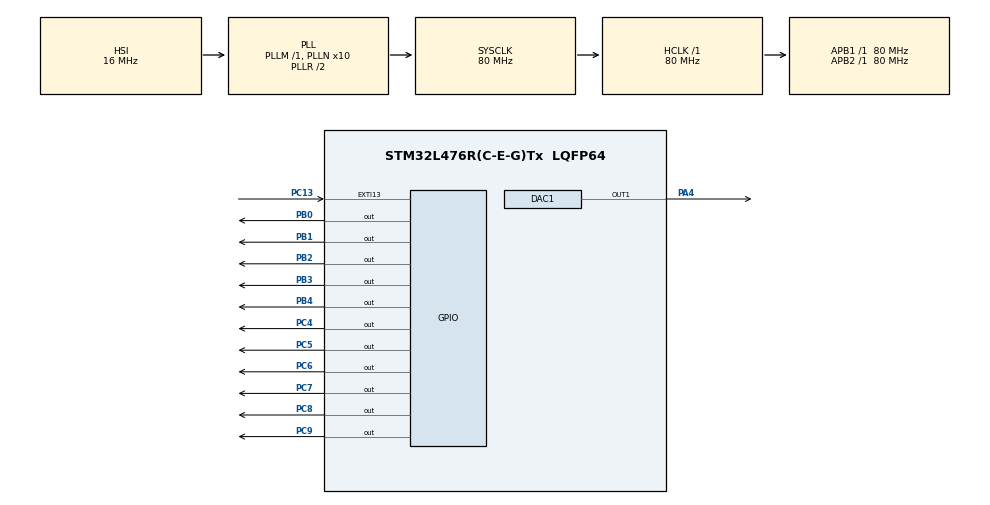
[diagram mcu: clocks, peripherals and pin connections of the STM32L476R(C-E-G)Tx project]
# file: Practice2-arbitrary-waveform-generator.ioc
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DAC1.DAC_Trigger-DAC_OUT1=DAC_TRIGGER_T2_TRGO
Dma.DAC_CH1.0.Direction=DMA_MEMORY_TO_PERIPH
Dma.DAC_CH1.0.Instance=DMA1_Channel3
Dma.DAC_CH1.0.MemDataAlignment=DMA_MDATAALIGN_HALFWORD
Dma.DAC_CH1.0.MemInc=DMA_MINC_ENABLE
Dma.DAC_CH1.0.Mode=DMA_CIRCULAR
Dma.DAC_CH1.0.PeriphDataAlignment=DMA_PDATAALIGN_HALFWORD
Dma.DAC_CH1.0.PeriphInc=DMA_PINC_DISABLE
Dma.DAC_CH1.0.Priority=DMA_PRIORITY_LOW
Dma.Request0=DAC_CH1
Mcu.Family=STM32L4
Mcu.Name=STM32L476R(C-E-G)Tx
Mcu.Package=LQFP64
NVIC.DMA1_Channel3_IRQn=true\:0\:0\:false\:false\:true\:false\:true\:true
NVIC.EXTI15_10_IRQn=true\:0\:0\:false\:false\:true\:true\:true\:true
NVIC.PriorityGroup=NVIC_PRIORITYGROUP_4
PA4.Signal=COMP_DAC11_group
PB0.Signal=GPIO_Output
PB1.Signal=GPIO_Output
PB2.Signal=GPIO_Output
PB3\ (JTDO-TRACESWO).Signal=GPIO_Output
PB4\ (NJTRST).Signal=GPIO_Output
PC13.GPIO_ModeDefaultEXTI=GPIO_MODE_IT_FALLING
PC13.Signal=GPXTI13
PC4.Signal=GPIO_Output
PC5.Signal=GPIO_Output
PC6.Signal=GPIO_Output
PC7.Signal=GPIO_Output
PC8.Signal=GPIO_Output
PC9.Signal=GPIO_Output
ProjectManager.HeapSize=0x200
ProjectManager.StackSize=0x400
ProjectManager.TargetToolchain=STM32CubeIDE
RCC.ADCFreq_Value=64000000
RCC.AHBFreq_Value=80000000
RCC.APB1Freq_Value=80000000
RCC.APB1TimFreq_Value=80000000
RCC.APB2Freq_Value=80000000
RCC.APB2TimFreq_Value=80000000
RCC.CortexFreq_Value=80000000
RCC.HCLKFreq_Value=80000000
RCC.HSE_VALUE=8000000
RCC.HSI_VALUE=16000000
RCC.LSE_VALUE=32768
RCC.MSI_VALUE=4000000
RCC.PLLN=10
RCC.PLLSourceVirtual=RCC_PLLSOURCE_HSI
RCC.PREFETCH_ENABLE=1
RCC.SYSCLKFreq_VALUE=80000000
RCC.SYSCLKSource=RCC_SYSCLKSOURCE_PLLCLK
RCC.USBFreq_Value=64000000
RCC.VCOOutputFreq_Value=160000000
SH.COMP_DAC11_group.0=DAC1_OUT1,DAC_OUT1
TIM2.AutoReloadPreload=TIM_AUTORELOAD_PRELOAD_ENABLE
TIM2.ClockDivision=TIM_CLOCKDIVISION_DIV1
TIM2.CounterMode=TIM_COUNTERMODE_DOWN
TIM2.Period=19
TIM2.Prescaler=399
TIM2.TIM_MasterOutputTrigger=TIM_TRGO_UPDATE
VP_TIM2_VS_ClockSourceINT.Mode=Internal
board=NUCLEO-L476RG

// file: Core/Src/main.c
/* USER CODE BEGIN Header */
/**
  ******************************************************************************
  * @file           : main.c
  * @brief          : Main program body
  ******************************************************************************
  * @attention
  *
  * Copyright (c) 2025 STMicroelectronics.
  * All rights reserved.
  *
  * This software is licensed under terms that can be found in the LICENSE file
  * in the root directory of this software component.
  * If no LICENSE file comes with this software, it is provided AS-IS.
  *
  ******************************************************************************
  */
/* USER CODE END Header */
#include "main.h"

/* USER CODE BEGIN Includes */
#include "math.h"    //math library
#include "lcd.h"    //LCD library
/* USER CODE END Includes */

DAC_HandleTypeDef hdac1;
DMA_HandleTypeDef hdma_dac_ch1;

TIM_HandleTypeDef htim2;

void SystemClock_Config(void);
static void MX_GPIO_Init(void);
static void MX_DMA_Init(void);
static void MX_DAC1_Init(void);
static void MX_TIM2_Init(void);

/* USER CODE BEGIN 0 */
float DAC_Range = 4095.0;    //12-bit range
#define DataCount 100    //sample data
uint8_t wave_type = 0;
uint8_t value_index = 0;
uint8_t lcd_flag = 0;

uint16_t sawtooth_wave[DataCount];    //sawtooth wave data
uint16_t square_wave[DataCount];    //square wave data
uint16_t sine_wave[DataCount];    //sine wave data
uint16_t trapezoidal_wave[DataCount];    //trapezoidal wave data
uint16_t triangular_wave[DataCount];    //triangular wave data

//LED Array
uint8_t LED_Array[] = {led0,led1,led2,led3,led4};

//sawtooth wave
void set_sawtooth_wave() {
  //get each step value
  for(int i = 0; i < DataCount; i++){
	sawtooth_wave[i] = (uint32_t)((float)i / (float)DataCount * DAC_Range);
  }
}

//square wave
void set_square_wave() {
  //get each step value
  for(int i = 0; i < DataCount; i++){
	if(i < DataCount * 0.5) {
	  square_wave[i] = 0;
	}
	else {
	  square_wave[i] = (uint32_t)(1 * DAC_Range);
	}
  }
}

//sine wave
void set_sine_wave() {
  float step = 2.0 * M_PI / DataCount;    //step
  for(int i = 0; i < DataCount; i++) {
    float radian = i * step;    //radian
    float sine_value = sin(radian);        //value range -1 ~ +1
    sine_wave[i] = (uint32_t)((sine_value + 1.0) / 2.0 * DAC_Range);    //convert value range to 0 ~ 1
  }
}

//trapezoidal wave
void set_trapezoidal_wave() {
  for(int i = 0; i < DataCount; i++) {
	if(i < DataCount * 0.25) {
	  trapezoidal_wave[i] = (uint32_t)((DataCount / (DataCount * 0.25) * i) / DataCount * DAC_Range);
	}
	else if(i >= DataCount * 0.25 && i < DataCount * 0.75) {
	  trapezoidal_wave[i] = (uint32_t)(1 * DAC_Range);
	}
	else if(i >= DataCount * 0.75) {
	  trapezoidal_wave[i] = (uint32_t)(((DataCount / (DataCount * 0.25)) * (DataCount - i)) / DataCount * DAC_Range);
	}
  }
}

//triangular wave
void set_triangular_wave() {
  for(int i = 0; i < DataCount; i++) {
	if(i < DataCount * 0.5) {
	  triangular_wave[i] = (uint32_t)((DataCount / (DataCount * 0.5) * i) / DataCount * DAC_Range);
	}
	else if(i >= DataCount * 0.5) {
	  triangular_wave[i] = (uint32_t)(((DataCount / (DataCount * 0.5)) * (DataCount - i)) / DataCount * DAC_Range);
	}
  }
}

//initialize
void Initialization() {
  LCD_initial();    //initialize lcd
  LCD_Puts("Wave Type:");    //write sting
  LCD_GoTo_Position(1, 0);    //move to LCD position
  LCD_Puts("Sawtooth Wave");    //sawtooth wave
  HAL_GPIO_WritePin(GPIOB, led0, GPIO_PIN_SET);    //turn on LED
  set_sawtooth_wave();    //sawtooth wave
  set_square_wave();    //square wave
  set_sine_wave();    //sine wave
  set_trapezoidal_wave();    //trapezoidal wave
  set_triangular_wave();    //triangular wave
  HAL_DAC_Init(&hdac1);    //DAC initialization
  HAL_TIM_Base_Start(&htim2);    //start timer
  //DAC output sawtooth data
  HAL_DAC_Start_DMA(&hdac1, DAC_CHANNEL_1, (uint32_t*)sawtooth_wave, DataCount, DAC_ALIGN_12B_R);
}

void HAL_GPIO_EXTI_Callback(uint16_t GPIO_Pin){
  HAL_DAC_Stop_DMA(&hdac1, DAC_CHANNEL_1);    //stop DMA
  uint8_t type_value = wave_type + 1;    //add counter number
  //check wave type
  wave_type = (type_value > 4) ? 0 : type_value;
  switch(wave_type) {
    //sawtooth
    case 0:
	  HAL_DAC_Start_DMA(&hdac1, DAC_CHANNEL_1, (uint32_t*)sawtooth_wave, DataCount, DAC_ALIGN_12B_R);
	  break;
    //square wave
    case 1:
      HAL_DAC_Start_DMA(&hdac1, DAC_CHANNEL_1, (uint32_t*)square_wave, DataCount, DAC_ALIGN_12B_R);
      break;
    //sine wave
    case 2:
      HAL_DAC_Start_DMA(&hdac1, DAC_CHANNEL_1, (uint32_t*)sine_wave, DataCount, DAC_ALIGN_12B_R);
      break;
    //trapezoidal_wave
    case 3:
      HAL_DAC_Start_DMA(&hdac1, DAC_CHANNEL_1, (uint32_t*)trapezoidal_wave, DataCount, DAC_ALIGN_12B_R);
      break;
    //triangular wave
    case 4:
      HAL_DAC_Start_DMA(&hdac1, DAC_CHANNEL_1, (uint32_t*)triangular_wave, DataCount, DAC_ALIGN_12B_R);
      break;
    default:
      break;
  }
  lcd_flag = 1;    //set LCD flag
}

void DisplayText() {
    while(lcd_flag == 0) {
	  //wait flag, do nothing
	  HAL_Delay(1);    //delay
	}
	lcd_flag = 0;    //reset flag
	LCD_Clear();    //clear LCD
	LCD_GoTo_Position(0, 0);    //move to LCD position
	LCD_Puts("Wave Type:");    //write sting
	LCD_GoTo_Position(1, 0);    //move to LCD position
	switch(wave_type) {
	  //sawtooth wave
	  case 0:
		LCD_Puts("Sawtooth Wave");
		break;
	  //square wave
	  case 1:
		LCD_Puts("Square Wave");
		break;
	  //sine wave
	  case 2:
		LCD_Puts("Sine Wave");
		break;
	  //trapezoidal wave
	  case 3:
		LCD_Puts("Trapezoidal Wave");
		break;
	  //triangular wave
	  case 4:
		LCD_Puts("Triangular Wave");
		break;
	}
	//switch LED
	int LED_Array_Length = sizeof(LED_Array)/sizeof(LED_Array[0]);    //LED array Length
	for(int i = 0; i < LED_Array_Length; i++) {
	  if(i == wave_type) {
		HAL_GPIO_WritePin(GPIOB, LED_Array[i], GPIO_PIN_SET);    //turn on LED
	  }
	  else {
		HAL_GPIO_WritePin(GPIOB, LED_Array[i], GPIO_PIN_RESET);    //turn off LED
	  }
	}
}
/* USER CODE END 0 */

int main(void)
{

  /* MCU Configuration--------------------------------------------------------*/

  /* Reset of all peripherals, Initializes the Flash interface and the Systick. */
  HAL_Init();

  /* Configure the system clock */
  SystemClock_Config();

  /* Initialize all configured peripherals */
  MX_GPIO_Init();
  MX_DMA_Init();
  MX_DAC1_Init();
  MX_TIM2_Init();
  /* USER CODE BEGIN 2 */
  Initialization();    //initialize
  /* USER CODE END 2 */

  /* Infinite loop */
  while (1)
  {
	DisplayText();
  }
}

void SystemClock_Config(void)
{
  RCC_OscInitTypeDef RCC_OscInitStruct = {0};
  RCC_ClkInitTypeDef RCC_ClkInitStruct = {0};

  /** Configure the main internal regulator output voltage
  */
  if (HAL_PWREx_ControlVoltageScaling(PWR_REGULATOR_VOLTAGE_SCALE1) != HAL_OK)
  {
    Error_Handler();
  }

  /** Initializes the RCC Oscillators according to the specified parameters
  * in the RCC_OscInitTypeDef structure.
  */
  RCC_OscInitStruct.OscillatorType = RCC_OSCILLATORTYPE_HSI;
  RCC_OscInitStruct.HSIState = RCC_HSI_ON;
  RCC_OscInitStruct.HSICalibrationValue = RCC_HSICALIBRATION_DEFAULT;
  RCC_OscInitStruct.PLL.PLLState = RCC_PLL_ON;
  RCC_OscInitStruct.PLL.PLLSource = RCC_PLLSOURCE_HSI;
  RCC_OscInitStruct.PLL.PLLM = 1;
  RCC_OscInitStruct.PLL.PLLN = 10;
  RCC_OscInitStruct.PLL.PLLP = RCC_PLLP_DIV7;
  RCC_OscInitStruct.PLL.PLLQ = RCC_PLLQ_DIV2;
  RCC_OscInitStruct.PLL.PLLR = RCC_PLLR_DIV2;
  if (HAL_RCC_OscConfig(&RCC_OscInitStruct) != HAL_OK)
  {
    Error_Handler();
  }

  /** Initializes the CPU, AHB and APB buses clocks
  */
  RCC_ClkInitStruct.ClockType = RCC_CLOCKTYPE_HCLK|RCC_CLOCKTYPE_SYSCLK
                              |RCC_CLOCKTYPE_PCLK1|RCC_CLOCKTYPE_PCLK2;
  RCC_ClkInitStruct.SYSCLKSource = RCC_SYSCLKSOURCE_PLLCLK;
  RCC_ClkInitStruct.AHBCLKDivider = RCC_SYSCLK_DIV1;
  RCC_ClkInitStruct.APB1CLKDivider = RCC_HCLK_DIV1;
  RCC_ClkInitStruct.APB2CLKDivider = RCC_HCLK_DIV1;

  if (HAL_RCC_ClockConfig(&RCC_ClkInitStruct, FLASH_LATENCY_4) != HAL_OK)
  {
    Error_Handler();
  }
}

static void MX_DAC1_Init(void)
{

  DAC_ChannelConfTypeDef sConfig = {0};

  /** DAC Initialization
  */
  hdac1.Instance = DAC1;
  if (HAL_DAC_Init(&hdac1) != HAL_OK)
  {
    Error_Handler();
  }

  /** DAC channel OUT1 config
  */
  sConfig.DAC_SampleAndHold = DAC_SAMPLEANDHOLD_DISABLE;
  sConfig.DAC_Trigger = DAC_TRIGGER_T2_TRGO;
  sConfig.DAC_OutputBuffer = DAC_OUTPUTBUFFER_ENABLE;
  sConfig.DAC_ConnectOnChipPeripheral = DAC_CHIPCONNECT_DISABLE;
  sConfig.DAC_UserTrimming = DAC_TRIMMING_FACTORY;
  if (HAL_DAC_ConfigChannel(&hdac1, &sConfig, DAC_CHANNEL_1) != HAL_OK)
  {
    Error_Handler();
  }

}

static void MX_TIM2_Init(void)
{

  TIM_ClockConfigTypeDef sClockSourceConfig = {0};
  TIM_MasterConfigTypeDef sMasterConfig = {0};

  htim2.Instance = TIM2;
  htim2.Init.Prescaler = 399;
  htim2.Init.CounterMode = TIM_COUNTERMODE_DOWN;
  htim2.Init.Period = 19;
  htim2.Init.ClockDivision = TIM_CLOCKDIVISION_DIV1;
  htim2.Init.AutoReloadPreload = TIM_AUTORELOAD_PRELOAD_ENABLE;
  if (HAL_TIM_Base_Init(&htim2) != HAL_OK)
  {
    Error_Handler();
  }
  sClockSourceConfig.ClockSource = TIM_CLOCKSOURCE_INTERNAL;
  if (HAL_TIM_ConfigClockSource(&htim2, &sClockSourceConfig) != HAL_OK)
  {
    Error_Handler();
  }
  sMasterConfig.MasterOutputTrigger = TIM_TRGO_UPDATE;
  sMasterConfig.MasterSlaveMode = TIM_MASTERSLAVEMODE_DISABLE;
  if (HAL_TIMEx_MasterConfigSynchronization(&htim2, &sMasterConfig) != HAL_OK)
  {
    Error_Handler();
  }

}

static void MX_DMA_Init(void)
{

  /* DMA controller clock enable */
  __HAL_RCC_DMA1_CLK_ENABLE();

  /* DMA interrupt init */
  /* DMA1_Channel3_IRQn interrupt configuration */
  HAL_NVIC_SetPriority(DMA1_Channel3_IRQn, 0, 0);
  HAL_NVIC_EnableIRQ(DMA1_Channel3_IRQn);

}

static void MX_GPIO_Init(void)
{
  GPIO_InitTypeDef GPIO_InitStruct = {0};

  /* GPIO Ports Clock Enable */
  __HAL_RCC_GPIOC_CLK_ENABLE();
  __HAL_RCC_GPIOA_CLK_ENABLE();
  __HAL_RCC_GPIOB_CLK_ENABLE();

  /*Configure GPIO pin Output Level */
  HAL_GPIO_WritePin(GPIOC, GPIO_PIN_4|GPIO_PIN_5|GPIO_PIN_6|GPIO_PIN_7
                          |GPIO_PIN_8|GPIO_PIN_9, GPIO_PIN_RESET);

  /*Configure GPIO pin Output Level */
  HAL_GPIO_WritePin(GPIOB, GPIO_PIN_0|GPIO_PIN_1|GPIO_PIN_2|GPIO_PIN_3
                          |GPIO_PIN_4, GPIO_PIN_RESET);

  /*Configure GPIO pin : PC13 */
  GPIO_InitStruct.Pin = GPIO_PIN_13;
  GPIO_InitStruct.Mode = GPIO_MODE_IT_FALLING;
  GPIO_InitStruct.Pull = GPIO_NOPULL;
  HAL_GPIO_Init(GPIOC, &GPIO_InitStruct);

  /*Configure GPIO pins : PC4 PC5 PC6 PC7
                           PC8 PC9 */
  GPIO_InitStruct.Pin = GPIO_PIN_4|GPIO_PIN_5|GPIO_PIN_6|GPIO_PIN_7
                          |GPIO_PIN_8|GPIO_PIN_9;
  GPIO_InitStruct.Mode = GPIO_MODE_OUTPUT_PP;
  GPIO_InitStruct.Pull = GPIO_NOPULL;
  GPIO_InitStruct.Speed = GPIO_SPEED_FREQ_LOW;
  HAL_GPIO_Init(GPIOC, &GPIO_InitStruct);

  /*Configure GPIO pins : PB0 PB1 PB2 PB3
                           PB4 */
  GPIO_InitStruct.Pin = GPIO_PIN_0|GPIO_PIN_1|GPIO_PIN_2|GPIO_PIN_3
                          |GPIO_PIN_4;
  GPIO_InitStruct.Mode = GPIO_MODE_OUTPUT_PP;
  GPIO_InitStruct.Pull = GPIO_NOPULL;
  GPIO_InitStruct.Speed = GPIO_SPEED_FREQ_LOW;
  HAL_GPIO_Init(GPIOB, &GPIO_InitStruct);

  /* EXTI interrupt init*/
  HAL_NVIC_SetPriority(EXTI15_10_IRQn, 0, 0);
  HAL_NVIC_EnableIRQ(EXTI15_10_IRQn);

}

void Error_Handler(void)
{
  __disable_irq();
  while (1)
  {
  }
}
